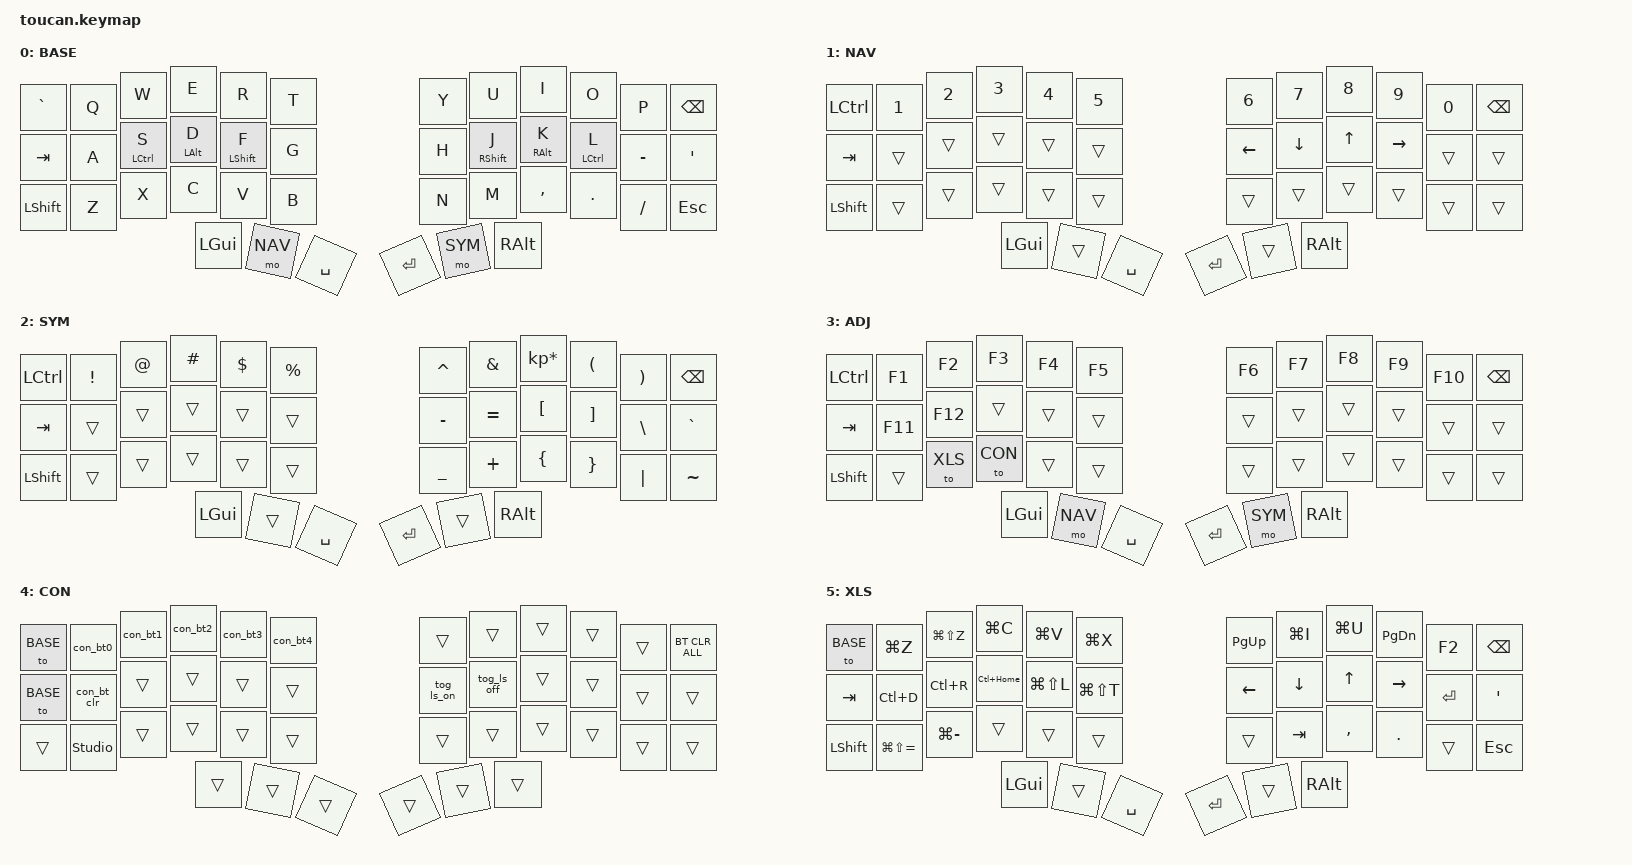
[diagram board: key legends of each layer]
#include <behaviors.dtsi>
#include <dt-bindings/zmk/keys.h>
#include <dt-bindings/zmk/bt.h>
#include <dt-bindings/zmk/outputs.h>
#include <input/processors.dtsi>
#include <dt-bindings/zmk/pointing.h>
// &kp を日本語(JIS)配列対応版に置き換える (必ず behaviors.dtsi より後に include する)
#include <layout_shift_kp_override.dtsi>

#define BASE 0
#define NAV  1
#define SYM  2
#define ADJ  3
#define CON  4
#define XLS  5

// US -> JIS 変換の ON/OFF 対象 (CON レイヤーの &tog_ls_on / &tog_ls_off で切り替え)
&tog_ls_on { layout-maps = <&layout_shift_map_us_to_jis>; };
&tog_ls_off { layout-maps = <&layout_shift_map_us_to_jis>; };

/ {
    behaviors {
        hm: homerow_mods {
            compatible = "zmk,behavior-hold-tap";
            #binding-cells = <2>;
            tapping-term-ms = <250>;
            quick-tap-ms = <150>;
            require-prior-idle-ms = <150>;
            flavor = "balanced";
            bindings = <&kp>, <&kp>;
        };
    };

    macros {
        con_bt0: con_bt0 {
            compatible = "zmk,behavior-macro";
            #binding-cells = <0>;
            bindings = <&bt BT_SEL 0>, <&to BASE>;
        };
        con_bt1: con_bt1 {
            compatible = "zmk,behavior-macro";
            #binding-cells = <0>;
            bindings = <&bt BT_SEL 1>, <&to BASE>;
        };
        con_bt2: con_bt2 {
            compatible = "zmk,behavior-macro";
            #binding-cells = <0>;
            bindings = <&bt BT_SEL 2>, <&to BASE>;
        };
        con_bt3: con_bt3 {
            compatible = "zmk,behavior-macro";
            #binding-cells = <0>;
            bindings = <&bt BT_SEL 3>, <&to BASE>;
        };
        con_bt4: con_bt4 {
            compatible = "zmk,behavior-macro";
            #binding-cells = <0>;
            bindings = <&bt BT_SEL 4>, <&to BASE>;
        };
        con_bt_clr: con_bt_clr {
            compatible = "zmk,behavior-macro";
            #binding-cells = <0>;
            bindings = <&bt BT_CLR>;
        };
    };

    conditional_layers {
        compatible = "zmk,conditional-layers";
        tri_layer {
            if-layers = <1 2>;
            then-layer = <3>;
        };
    };

    keymap {
        compatible = "zmk,keymap";

        base {
            display-name = "BASE";
            bindings = <
                &kp GRAVE &kp Q &kp W &kp E &kp R &kp T &kp Y &kp U  &kp I     &kp O   &kp P    &kp BSPC
                &kp TAB &kp A &hm LCTRL S &hm LALT D &hm LSHFT F &kp G &kp H &hm RSHFT J &hm RALT K &hm LCTRL L &kp MINUS &kp SQT
                &kp LSHFT &kp Z &kp X &kp C &kp V &kp B   &kp N &kp M  &kp COMMA &kp DOT &kp FSLH &kp ESC
                                &kp LGUI &mo NAV &kp SPACE   &kp RET &mo SYM &kp RALT
            >;
        };

        nav {
            display-name = "NAV";
            bindings = <
                &kp LCTRL  &kp N1  &kp N2  &kp N3  &kp N4  &kp N5    &kp N6   &kp N7   &kp N8  &kp N9    &kp N0  &kp BSPC
                &kp TAB    &trans  &trans  &trans  &trans  &trans    &kp LEFT &kp DOWN &kp UP  &kp RIGHT &trans  &trans
                &kp LSHFT  &trans  &trans  &trans  &trans  &trans    &trans   &trans   &trans  &trans    &trans  &trans
                                   &kp LGUI &trans &kp SPACE   &kp RET &trans &kp RALT
            >;
        };

        sym {
            display-name = "SYM";
            bindings = <
                &kp LCTRL  &kp EXCL &kp AT &kp HASH &kp DLLR &kp PRCNT   &kp CARET &kp AMPS &kp KP_MULTIPLY &kp LPAR &kp RPAR &kp BSPC
                &kp TAB    &trans   &trans &trans   &trans   &trans      &kp MINUS &kp EQUAL &kp LBKT        &kp RBKT &kp BSLH &kp GRAVE
                &kp LSHFT  &trans   &trans &trans   &trans   &trans      &kp UNDER &kp PLUS  &kp LBRC        &kp RBRC &kp PIPE &kp TILDE
                                           &kp LGUI &trans   &kp SPACE   &kp RET   &trans    &kp RALT
            >;
        };

        adj {
            display-name = "ADJ";
            bindings = <    
                &kp LCTRL  &kp F1 &kp F2 &kp F3 &kp F4 &kp F5   &kp F6 &kp F7  &kp F8 &kp F9 &kp F10 &kp BSPC
                &kp TAB    &kp F11 &kp F12 &trans  &trans &trans   &trans       &trans      &trans       &trans &trans &trans
                &kp LSHFT  &trans &to XLS &to CON &trans &trans   &trans       &trans      &trans       &trans &trans &trans
                                   &kp LGUI &mo NAV &kp SPACE   &kp RET &mo SYM &kp RALT
            >;
        };

        con {
            display-name = "CON";
            bindings = <
                &to BASE  &con_bt0       &con_bt1 &con_bt2 &con_bt3 &con_bt4   &trans &trans &trans &trans &trans &bt BT_CLR_ALL
                &to BASE  &con_bt_clr         &trans   &trans   &trans   &trans     &tog_ls_on &tog_ls_off &trans &trans &trans &trans
                &trans    &studio_unlock &trans   &trans   &trans   &trans     &trans &trans &trans &trans &trans &trans
                                         &trans &trans   &trans   &trans &trans &trans
            >;
        };

        xls {
            display-name = "XLS";
            bindings = <
                &to BASE  &kp LG(Z)         &kp LG(LS(Z))    &kp LG(C)      &kp LG(V)      &kp LG(X)         &kp PG_UP  &kp LG(I)  &kp LG(U)  &kp PG_DN        &kp F2   &kp BSPC
                &kp TAB   &kp LC(D)          &kp LC(R)        &kp LC(HOME)   &kp LG(LS(L))  &kp LG(LS(T))     &kp LEFT   &kp DOWN   &kp UP     &kp RIGHT         &kp RET  &kp SQT
                &kp LSHFT &kp LG(LS(EQUAL))  &kp LG(MINUS)   &trans         &trans         &trans            &trans     &kp TAB     &kp COMMA  &kp DOT           &trans   &kp ESC
                                              &kp LGUI &trans &kp SPACE   &kp RET &trans &kp RALT
            >;
        };

        extra_1 {
            status = "reserved";
        };

        extra_2 {
            status = "reserved";
        };

        extra_3 {
            status = "reserved";
        };
    };
};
